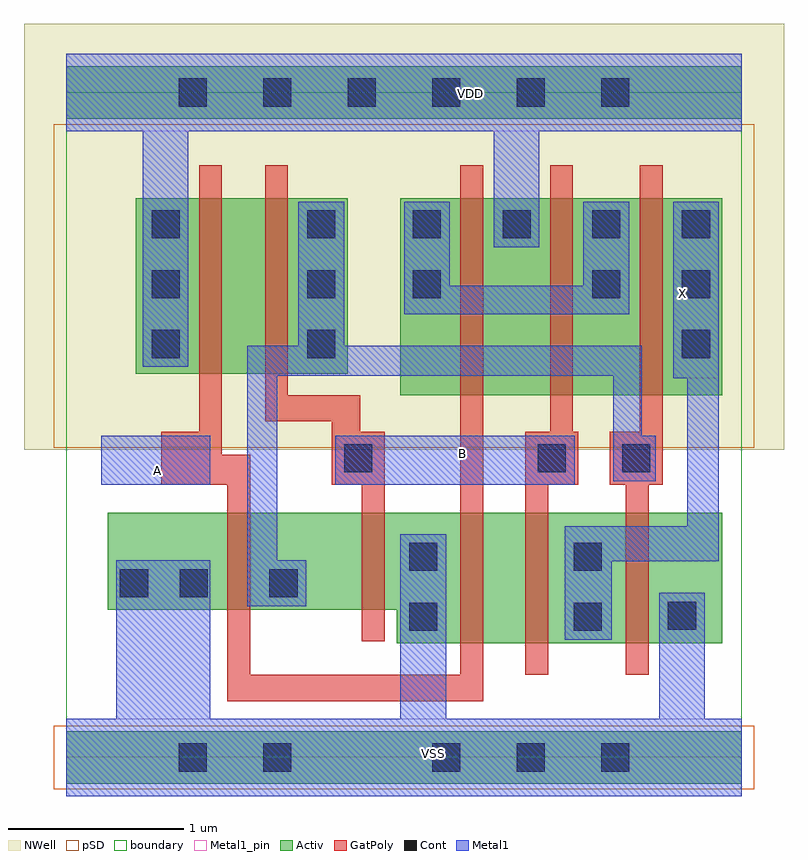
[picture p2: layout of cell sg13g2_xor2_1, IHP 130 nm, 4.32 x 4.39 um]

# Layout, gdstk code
import gdstk
lib = gdstk.Library(unit=1e-6, precision=5e-09)
def R(c, l, rs):  # rectangles x0, y0, x1, y1
    for r in rs: c.add(gdstk.rectangle(r[:2], r[2:], *l))
def A(c, l, x, y, w, h, nx, ny, dx, dy):  # array of equal rectangles
    R(c, l, [(x+i*dx, y+j*dy, x+i*dx+w, y+j*dy+h) for i in range(nx) for j in range(ny)])
def P(c, l, *ps):  # polygons
    for p in ps: c.add(gdstk.Polygon(p, *l))
Activ = (1, 0)
GatPoly = (5, 0)
Cont = (6, 0)
Metal1 = (8, 0)
Metal1_pin = (8, 2)
pSD = (14, 0)
NWell = (31, 0)
boundary = (189, 4)

sg13g2_xor2_1 = lib.new_cell('sg13g2_xor2_1')
R(sg13g2_xor2_1, Activ, [(27.59,55.31,31.43,55.61), (29.49,57.52,31.32,58.64), (27.985,57.64,29.19,58.64), (27.59,59.09,31.43,59.39)])
P(sg13g2_xor2_1, Activ, [(29.47,56.11),(29.47,56.3),(27.825,56.3),(27.825,56.85),(31.32,56.85),(31.32,56.11)])
P(sg13g2_xor2_1, GatPoly, [(29.27,56.12),(29.27,57.01),(29.1,57.01),(29.1,57.37),(28.72,57.37),(28.72,58.825),(28.85,58.825),(28.85,57.52),(29.26,57.52),(29.26,57.31),(29.4,57.31),(29.4,56.12)],
  [(30.2,55.93),(30.2,57.31),(30.34,57.31),(30.34,58.825),(30.47,58.825),(30.47,57.31),(30.5,57.31),(30.5,57.01),(30.33,57.01),(30.33,55.93)],
  [(30.77,55.93),(30.77,57.01),(30.68,57.01),(30.68,57.31),(30.85,57.31),(30.85,58.825),(30.98,58.825),(30.98,57.01),(30.9,57.01),(30.9,55.93)],
  [(28.505,55.78),(28.505,57.01),(28.13,57.01),(28.13,57.31),(28.345,57.31),(28.345,58.825),(28.475,58.825),(28.475,57.18),(28.635,57.18),(28.635,55.93),(29.83,55.93),(29.83,58.825),(29.96,58.825),(29.96,55.78)])
A(sg13g2_xor2_1, Cont, 29.67, 55.38, 0.16, 0.16, 3, 1, 0.48, 0)
A(sg13g2_xor2_1, Cont, 28.075, 57.73, 0.16, 0.16, 1, 3, 0, 0.34)
A(sg13g2_xor2_1, Cont, 28.96, 57.73, 0.16, 0.16, 1, 3, 0, 0.34)
A(sg13g2_xor2_1, Cont, 29.56, 58.41, 0.16, 0.16, 4, 1, 0.51, 0)
A(sg13g2_xor2_1, Cont, 28.23, 59.16, 0.16, 0.16, 6, 1, 0.48, 0)
R(sg13g2_xor2_1, Cont, [(28.23,55.38,28.39,55.54), (28.71,55.38,28.87,55.54), (29.54,56.18,29.7,56.34), (30.475,56.18,30.635,56.34), (31.01,56.185,31.17,56.345), (27.895,56.37,28.055,56.53), (28.235,56.37,28.395,56.53), (28.745,56.37,28.905,56.53), (29.54,56.52,29.7,56.68), (30.475,56.52,30.635,56.68), (29.17,57.08,29.33,57.24), (30.27,57.08,30.43,57.24), (30.75,57.08,30.91,57.24), (31.09,57.73,31.25,57.89), (29.56,58.07,29.72,58.23), (30.58,58.07,30.74,58.23), (31.09,58.07,31.25,58.23)])
R(sg13g2_xor2_1, Metal1, [(27.79,57.01,28.41,57.29), (29.12,57.01,30.48,57.29)])
P(sg13g2_xor2_1, Metal1, [(29.51,57.98),(29.51,58.62),(29.77,58.62),(29.77,58.14),(30.53,58.14),(30.53,58.62),(30.79,58.62),(30.79,57.98)],
  [(28.025,57.68),(28.025,59.02),(27.59,59.02),(27.59,59.46),(31.43,59.46),(31.43,59.02),(30.28,59.02),(30.28,58.36),(30.02,58.36),(30.02,59.02),(28.285,59.02),(28.285,57.68)],
  [(27.59,55.24),(27.59,55.68),(27.875,55.68),(27.875,56.58),(28.41,56.58),(28.41,55.68),(29.49,55.68),(29.49,56.73),(29.75,56.73),(29.75,55.68),(30.96,55.68),(30.96,56.395),(31.22,56.395),(31.22,55.68),(31.43,55.68),(31.43,55.24)],
  [(30.425,56.13),(30.425,56.775),(31.12,56.775),(31.12,57.615),(31.04,57.615),(31.04,58.62),(31.3,58.62),(31.3,56.575),(30.69,56.575),(30.69,56.13)],
  [(28.62,56.32),(28.62,57.8),(28.91,57.8),(28.91,58.62),(29.17,58.62),(29.17,57.8),(30.86,57.8),(30.86,57.29),(30.94,57.29),(30.94,57.03),(30.7,57.03),(30.7,57.63),(28.79,57.63),(28.79,56.58),(28.955,56.58),(28.955,56.32)])
R(sg13g2_xor2_1, Metal1_pin, [(27.59,55.24,31.43,55.68), (27.79,57.01,28.41,57.29), (29.12,57.01,30.48,57.29), (31.04,57.615,31.3,58.62), (27.59,59.02,31.43,59.46)])
R(sg13g2_xor2_1, pSD, [(27.52,55.28,31.5,55.64), (27.52,57.22,31.5,59.06)])
R(sg13g2_xor2_1, NWell, [(27.35,57.21,31.67,59.63)])
R(sg13g2_xor2_1, boundary, [(27.59,55.46,31.43,59.24)])
sg13g2_xor2_1.add(gdstk.Label('X', (31.095,58.095), layer=8, texttype=25))
sg13g2_xor2_1.add(gdstk.Label('VDD', (29.89,59.235), layer=8, texttype=25))
sg13g2_xor2_1.add(gdstk.Label('B', (29.845,57.185), layer=8, texttype=25))
sg13g2_xor2_1.add(gdstk.Label('A', (28.11,57.09), layer=8, texttype=25))
sg13g2_xor2_1.add(gdstk.Label('VSS', (29.68,55.48), layer=8, texttype=25))

lib.write_gds('sg13g2_xor2_1.gds')
